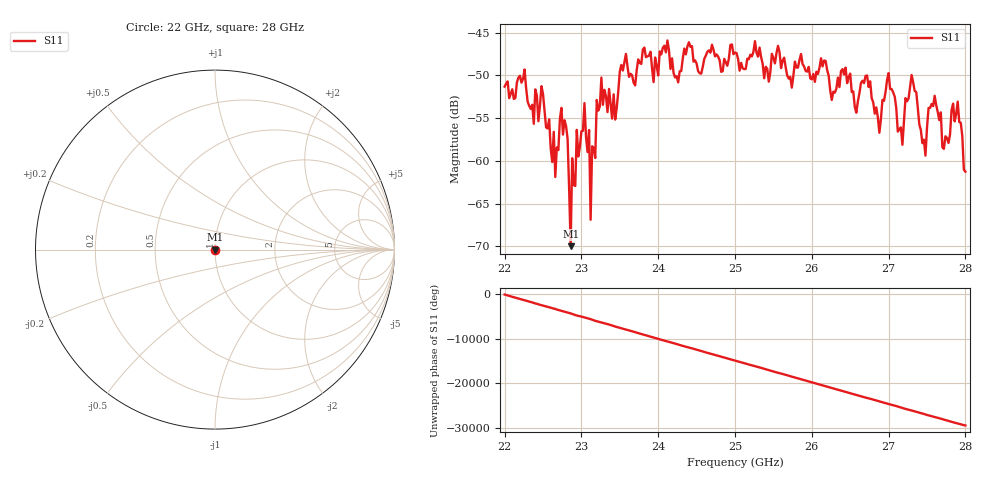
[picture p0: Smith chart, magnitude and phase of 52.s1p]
#  HZ  S  RI  R  50.00
! Rohde & Schwarz ZVA40 4Ports - Version 3.90 - 1145.1110k42 SN: 100403
! Date: 2023-10-04 06:27:42
! Measurement: S12
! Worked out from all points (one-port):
!   301 points, 22 GHz to 28 GHz, reference 50 ohm
!   lowest |S11| = -70.0 dB at 22.86 GHz (marker M1), VSWR 1.00, Z = 50 - j0.0258 ohm
!   |S11| at or under -10 dB: start of sweep to end of sweep
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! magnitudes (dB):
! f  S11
! 22 GHz  -51.3
! 22.48 GHz  -51.3
! 22.66 GHz  -61.9
! 22.76 GHz  -56.9
! 22.82 GHz  -57.4
! 22.86 GHz  -70.0
! 22.88 GHz  -59.7
! 22.92 GHz  -62.9
! 22.94 GHz  -56.4
! 23.1 GHz  -56.4
! 23.12 GHz  -66.9
! 23.14 GHz  -58.3
! 23.18 GHz  -59.7
! 23.2 GHz  -52.9
! 23.5 GHz  -49.5
! 24.26 GHz  -50.8
! 25 GHz  -47.3
! 25.76 GHz  -50.0
! 26.5 GHz  -49.8
! 26.88 GHz  -56.7
! 27 GHz  -49.7
! 27.18 GHz  -58.1
! 27.26 GHz  -52.7
! 27.48 GHz  -59.4
! 27.6 GHz  -52.4
! 27.72 GHz  -58.6
! 27.9 GHz  -53.1
! 28 GHz  -61.3
